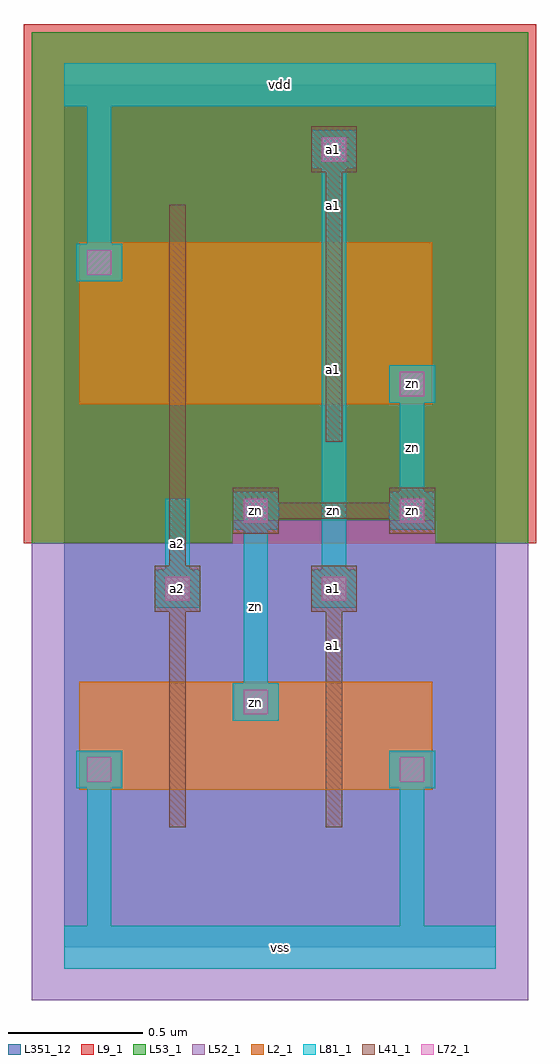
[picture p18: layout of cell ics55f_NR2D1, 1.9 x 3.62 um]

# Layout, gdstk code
import gdstk
lib = gdstk.Library(unit=1e-6, precision=1e-09)
def R(c, l, rs):  # rectangles x0, y0, x1, y1
    for r in rs: c.add(gdstk.rectangle(r[:2], r[2:], *l))
def P(c, l, *ps):  # polygons
    for p in ps: c.add(gdstk.Polygon(p, *l))
L0_0 = (0, 0)
L2_1 = (2, 1)
L9_1 = (9, 1)
L41_1 = (41, 1)
L52_1 = (52, 1)
L53_1 = (53, 1)
L72_1 = (72, 1)
L81_1 = (81, 1)
L351_12 = (351, 12)

ics55f_nr2d1 = lib.new_cell('ics55f_NR2D1')
R(ics55f_nr2d1, L2_1, [(0.055,0.585,0.785,0.985), (0.055,0.585,0.205,0.735), (0.635,0.585,1.365,0.985), (1.215,0.585,1.365,0.735), (0.635,0.835,0.785,0.985), (0.055,2.015,0.785,2.615), (0.635,2.015,1.365,2.615), (1.215,2.015,1.365,2.165), (0.055,2.465,0.205,2.615)])
R(ics55f_nr2d1, L9_1, [(-0.15,1.5,1.75,3.425)])
R(ics55f_nr2d1, L41_1, [(0.39,0.445,0.45,1.125), (0.97,0.445,1.03,1.125), (0.39,0.88,0.45,2.12), (0.97,0.88,1.03,1.36), (0.335,1.245,0.505,1.415), (0.915,1.245,1.085,1.415), (0.625,1.535,0.795,1.705), (1.205,1.535,1.375,1.705), (0.68,1.59,1.32,1.65), (0.39,1.875,0.45,2.755), (0.97,1.875,1.03,2.755), (0.97,2.51,1.03,2.99), (0.915,2.875,1.085,3.045)])
P(ics55f_nr2d1, L52_1, [(-0.12,-0.195),(-0.12,1.5),(0.625,1.5),(0.625,1.585),(1.375,1.585),(1.375,1.5),(1.72,1.5),(1.72,-0.195)])
P(ics55f_nr2d1, L53_1, [(-0.12,1.5),(-0.12,3.395),(1.72,3.395),(1.72,1.5),(1.375,1.5),(1.375,1.585),(0.625,1.585),(0.625,1.5)])
R(ics55f_nr2d1, L72_1, [(0.085,0.615,0.175,0.705), (1.245,0.615,1.335,0.705), (0.665,0.865,0.755,0.955), (0.375,1.285,0.465,1.375), (0.955,1.285,1.045,1.375), (0.665,1.575,0.755,1.665), (1.245,1.575,1.335,1.665), (1.245,2.045,1.335,2.135), (0.085,2.495,0.175,2.585), (0.955,2.915,1.045,3.005)])
P(ics55f_nr2d1, L81_1, [(0,-0.08),(0,0.08),(0.085,0.08),(0.085,0.59),(0.045,0.59),(0.045,0.73),(0.215,0.73),(0.215,0.59),(0.175,0.59),(0.175,0.08),(1.245,0.08),(1.245,0.59),(1.205,0.59),(1.205,0.73),(1.375,0.73),(1.375,0.59),(1.335,0.59),(1.335,0.08),(1.6,0.08),(1.6,-0.08)],
  [(0.335,1.26),(0.335,1.4),(0.375,1.4),(0.375,1.665),(0.465,1.665),(0.465,1.4),(0.505,1.4),(0.505,1.26)],
  [(0.625,0.84),(0.625,0.98),(0.665,0.98),(0.665,1.55),(0.625,1.55),(0.625,1.69),(0.795,1.69),(0.795,1.55),(0.755,1.55),(0.755,0.98),(0.795,0.98),(0.795,0.84)],
  [(1.205,1.55),(1.205,1.69),(1.245,1.69),(1.245,2.02),(1.205,2.02),(1.205,2.16),(1.375,2.16),(1.375,2.02),(1.335,2.02),(1.335,1.69),(1.375,1.69),(1.375,1.55)],
  [(0.915,1.26),(0.915,1.4),(0.955,1.4),(0.955,2.89),(0.915,2.89),(0.915,3.03),(1.085,3.03),(1.085,2.89),(1.045,2.89),(1.045,1.4),(1.085,1.4),(1.085,1.26)],
  [(0.045,2.47),(0.045,2.61),(0.085,2.61),(0.085,3.12),(0,3.12),(0,3.28),(1.6,3.28),(1.6,3.12),(0.175,3.12),(0.175,2.61),(0.215,2.61),(0.215,2.47)])
R(ics55f_nr2d1, L351_12, [(0,0,1.6,3.2)])
ics55f_nr2d1.add(gdstk.FlexPath([(0.045,0.24),(1.375,0.24)], 0, ends="flush", simple_path=True, layer=0, datatype=0))  # L0_0
ics55f_nr2d1.add(gdstk.FlexPath([(0.045,0.66),(1.375,0.66)], 0, ends="flush", simple_path=True, layer=0, datatype=0))  # L0_0
ics55f_nr2d1.add(gdstk.FlexPath([(0.045,0.91),(1.375,0.91)], 0, ends="flush", simple_path=True, layer=0, datatype=0))  # L0_0
ics55f_nr2d1.add(gdstk.FlexPath([(0.045,1.33),(1.375,1.33)], 0, ends="flush", simple_path=True, layer=0, datatype=0))  # L0_0
ics55f_nr2d1.add(gdstk.FlexPath([(0.045,1.62),(1.375,1.62)], 0, ends="flush", simple_path=True, layer=0, datatype=0))  # L0_0
ics55f_nr2d1.add(gdstk.FlexPath([(0.045,2.09),(1.375,2.09)], 0, ends="flush", simple_path=True, layer=0, datatype=0))  # L0_0
ics55f_nr2d1.add(gdstk.FlexPath([(0.045,2.54),(1.375,2.54)], 0, ends="flush", simple_path=True, layer=0, datatype=0))  # L0_0
ics55f_nr2d1.add(gdstk.FlexPath([(0.045,2.96),(1.375,2.96)], 0, ends="flush", simple_path=True, layer=0, datatype=0))  # L0_0
ics55f_nr2d1.add(gdstk.FlexPath([(0.13,0.03),(0.13,3.17)], 0, ends="flush", simple_path=True, layer=0, datatype=0))  # L0_0
ics55f_nr2d1.add(gdstk.FlexPath([(0.42,0.03),(0.42,3.17)], 0, ends="flush", simple_path=True, layer=0, datatype=0))  # L0_0
ics55f_nr2d1.add(gdstk.FlexPath([(0.71,0.03),(0.71,3.17)], 0, ends="flush", simple_path=True, layer=0, datatype=0))  # L0_0
ics55f_nr2d1.add(gdstk.FlexPath([(1,0.03),(1,3.17)], 0, ends="flush", simple_path=True, layer=0, datatype=0))  # L0_0
ics55f_nr2d1.add(gdstk.FlexPath([(1.29,0.03),(1.29,3.17)], 0, ends="flush", simple_path=True, layer=0, datatype=0))  # L0_0
ics55f_nr2d1.add(gdstk.Label('zn', (0.71,0.91), layer=2, texttype=1))
ics55f_nr2d1.add(gdstk.Label('zn', (1.29,2.09), layer=2, texttype=1))
ics55f_nr2d1.add(gdstk.Label('zn', (0.71,1.62), layer=41, texttype=1))
ics55f_nr2d1.add(gdstk.Label('zn', (1,1.62), layer=41, texttype=1))
ics55f_nr2d1.add(gdstk.Label('zn', (1.29,1.62), layer=41, texttype=1))
ics55f_nr2d1.add(gdstk.Label('a1', (1,1.12), layer=41, texttype=1))
ics55f_nr2d1.add(gdstk.Label('a1', (1,1.33), layer=41, texttype=1))
ics55f_nr2d1.add(gdstk.Label('a1', (1,2.96), layer=41, texttype=1))
ics55f_nr2d1.add(gdstk.Label('a1', (1,2.75), layer=41, texttype=1))
ics55f_nr2d1.add(gdstk.Label('a2', (0.42,1.5), layer=41, texttype=1))
ics55f_nr2d1.add(gdstk.Label('a2', (0.42,1.33), layer=41, texttype=1))
ics55f_nr2d1.add(gdstk.Label('zn', (0.71,0.91), layer=72, texttype=1))
ics55f_nr2d1.add(gdstk.Label('zn', (1.29,2.09), layer=72, texttype=1))
ics55f_nr2d1.add(gdstk.Label('zn', (0.71,1.62), layer=72, texttype=1))
ics55f_nr2d1.add(gdstk.Label('zn', (1.29,1.62), layer=72, texttype=1))
ics55f_nr2d1.add(gdstk.Label('a1', (1,1.33), layer=72, texttype=1))
ics55f_nr2d1.add(gdstk.Label('a1', (1,2.96), layer=72, texttype=1))
ics55f_nr2d1.add(gdstk.Label('a2', (0.42,1.33), layer=72, texttype=1))
ics55f_nr2d1.add(gdstk.Label('zn', (0.71,0.91), layer=81, texttype=6))
ics55f_nr2d1.add(gdstk.Label('zn', (1.29,2.09), layer=81, texttype=6))
ics55f_nr2d1.add(gdstk.Label('zn', (0.71,1.265), layer=81, texttype=6))
ics55f_nr2d1.add(gdstk.Label('zn', (0.71,1.62), layer=81, texttype=6))
ics55f_nr2d1.add(gdstk.Label('zn', (1.29,1.62), layer=81, texttype=6))
ics55f_nr2d1.add(gdstk.Label('zn', (1.29,1.855), layer=81, texttype=6))
ics55f_nr2d1.add(gdstk.Label('a1', (1,1.33), layer=81, texttype=6))
ics55f_nr2d1.add(gdstk.Label('a1', (1,2.145), layer=81, texttype=6))
ics55f_nr2d1.add(gdstk.Label('a1', (1,2.96), layer=81, texttype=6))
ics55f_nr2d1.add(gdstk.Label('a2', (0.42,1.33), layer=81, texttype=6))
ics55f_nr2d1.add(gdstk.Label('a2', (0.42,1.475), layer=81, texttype=6))
ics55f_nr2d1.add(gdstk.Label('vss', (0.8,0), layer=81, texttype=6))
ics55f_nr2d1.add(gdstk.Label('vdd', (0.8,3.2), layer=81, texttype=6))

lib.write_gds('ics55f_NR2D1.gds')
